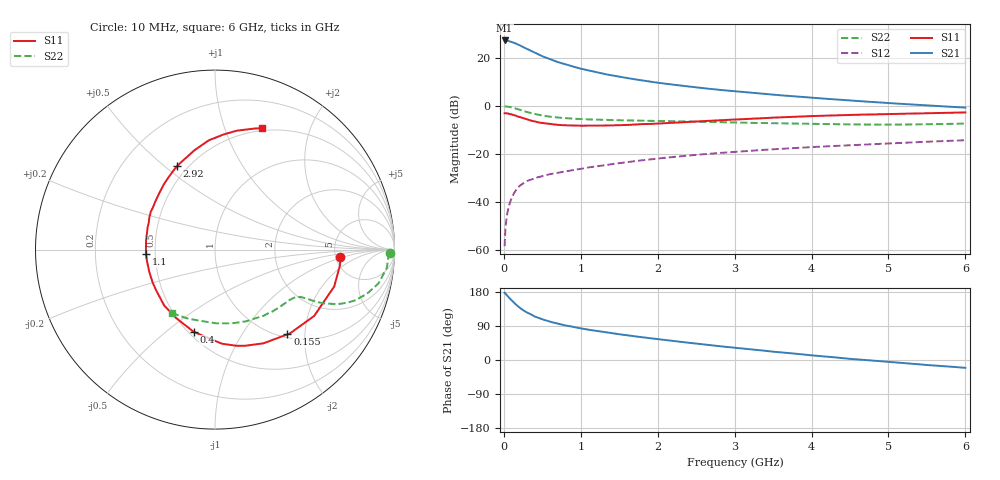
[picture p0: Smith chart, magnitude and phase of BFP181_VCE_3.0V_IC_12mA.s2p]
! Infineon Technologies  Discrete & RF Semiconductors
! BFP181
! VCE = 3.0 V,  IC =  12 mA
! Common Emitter S-Parameters:  Jan 2016
# GHz  S  MA  R  50
!  f  S11  S21  S12  S22
! GHz  MAG  ANG  MAG  ANG  MAG  ANG  MAG  ANG
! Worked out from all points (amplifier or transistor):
!   210 points, 10 MHz to 6 GHz, reference 50 ohm
!   highest |S21| = 27.2 dB at 10 MHz (marker M1)
!   |S21| within 3 dB of that: start of sweep to 266.9 MHz
!   unconditionally stable (mu >= 1): 943.2 MHz to end of sweep
!   at 185 MHz: K = 0.32, MSG = 29.8 dB, |S12| = -34.0 dB
!   at 1.52 GHz: K = 1.16, MAG = 15.4 dB, |S12| = -23.8 dB
!   at 6 GHz: K = 1.01, MAG = 6.1 dB, |S12| = -14.3 dB
!   S11 on the Smith chart (normalised r, x): 10 MHz: 5.48, -0.88; 155 MHz: 1.06, -1.63; 400 MHz: 0.53, -0.63; 1.1 GHz: 0.44, -0.03; 2.92 GHz: 0.44, +0.55; 6 GHz: 0.47, +1.35
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0.01  0.698 -3.4  22.83 177.5  0.0012 92.2  0.973 -1.0
0.02  0.7021 -6.9  22.82 175.5  0.0027 84.6  0.967 -2.3
0.05  0.6953 -17.2  22.55 168.3  0.0064 87.0  0.9629 -6.1
0.1  0.6648 -33.8  21.31 157.5  0.012 74.6  0.9299 -11.7
0.155  0.6209 -49.5  19.74 146.6  0.0173 66.9  0.877 -16.5
0.2  0.588 -62.6  18.39 138.9  0.0212 63.7  0.8324 -19.8
0.26  0.5498 -77.2  16.36 130.2  0.0248 59.2  0.7754 -22.7
0.3  0.5257 -85.8  15.25 125.5  0.0272 57.4  0.741 -24.2
0.4  0.4735 -104.5  12.74 114.9  0.031 53.5  0.6733 -26.4
0.5  0.438 -119.8  10.74 107.1  0.0344 51.0  0.6258 -27.4
0.6  0.4209 -132.3  9.334 100.9  0.0378 50.4  0.5916 -27.9
0.7  0.4014 -143.5  8.114 95.8  0.0403 50.5  0.5684 -28.4
0.8  0.3927 -152.3  7.272 91.2  0.043 50.3  0.5522 -28.7
1.02  0.3844 -170.5  5.802 82.7  0.0493 50.6  0.5263 -30.1
1.1  0.3859 -176.1  5.425 79.8  0.0522 50.8  0.52 -30.7
1.5  0.3949 162.7  4.022 67.9  0.0642 51.1  0.4995 -34.5
2.02  0.4277 140.7  2.986 54.6  0.0804 49.2  0.4827 -41.3
2.92  0.5098 114.4  2.059 34.0  0.1075 44.0  0.4521 -55.7
3.1  0.5258 110.2  1.939 30.5  0.1127 42.8  0.4452 -59.0
4.1  0.6162 91.6  1.433 10.6  0.1407 35.4  0.4177 -79.6
5.1  0.6787 78.3  1.113 -6.5  0.167 28.1  0.4056 -102.7
6  0.7264 68.9  0.915 -20.7  0.1919 20.9  0.4271 -124.0
